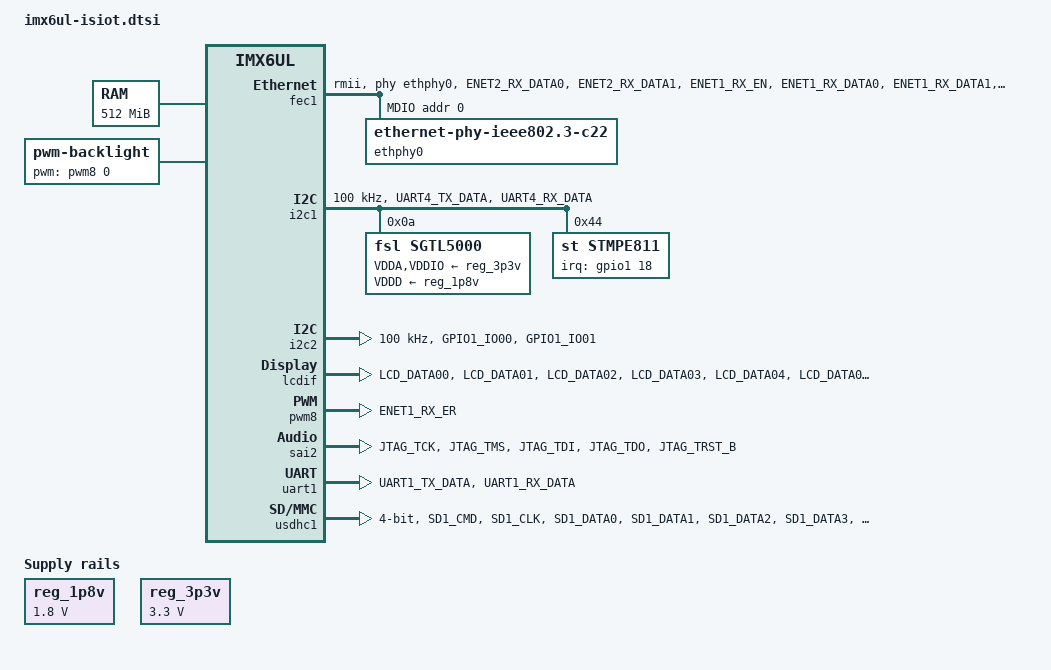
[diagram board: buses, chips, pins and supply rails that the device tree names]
// SPDX-License-Identifier: GPL-2.0 OR X11
/*
 * Copyright (C) 2016 Amarula Solutions B.V.
 * Copyright (C) 2016 Engicam S.r.l.
 */

#include <dt-bindings/gpio/gpio.h>
#include <dt-bindings/input/input.h>
#include "imx6ul.dtsi"

/ {
	memory@80000000 {
		device_type = "memory";
		reg = <0x80000000 0x20000000>;
	};

	chosen {
		stdout-path = &uart1;
	};

	backlight {
		compatible = "pwm-backlight";
		pwms = <&pwm8 0 100000 0>;
		brightness-levels = < 0  1  2  3  4  5  6  7  8  9
				     10 11 12 13 14 15 16 17 18 19
				     20 21 22 23 24 25 26 27 28 29
				     30 31 32 33 34 35 36 37 38 39
				     40 41 42 43 44 45 46 47 48 49
				     50 51 52 53 54 55 56 57 58 59
				     60 61 62 63 64 65 66 67 68 69
				     70 71 72 73 74 75 76 77 78 79
				     80 81 82 83 84 85 86 87 88 89
				     90 91 92 93 94 95 96 97 98 99
				    100>;
		default-brightness-level = <100>;
	};

	reg_1p8v: regulator-1p8v {
		compatible = "regulator-fixed";
		regulator-name = "1P8V";
		regulator-min-microvolt = <1800000>;
		regulator-max-microvolt = <1800000>;
		regulator-always-on;
		regulator-boot-on;
	};

	reg_3p3v: regulator-3p3v {
		compatible = "regulator-fixed";
		regulator-name = "3P3V";
		regulator-min-microvolt = <3300000>;
		regulator-max-microvolt = <3300000>;
		regulator-always-on;
		regulator-boot-on;
	};

	sound {
		compatible = "simple-audio-card";
		simple-audio-card,name = "imx6ul-isiot-sgtl5000";
		simple-audio-card,format = "i2s";
		simple-audio-card,bitclock-master = <&dailink_master>;
		simple-audio-card,frame-master = <&dailink_master>;
		simple-audio-card,widgets =
			"Microphone", "Mic Jack",
			"Line", "Line In",
			"Line", "Line Out",
			"Headphone", "Headphone Jack";
		simple-audio-card,routing =
			"MIC_IN", "Mic Jack",
			"Mic Jack", "Mic Bias",
			"Headphone Jack", "HP_OUT";

		simple-audio-card,cpu {
			sound-dai = <&sai2>;
		};

		dailink_master: simple-audio-card,codec {
			sound-dai = <&sgtl5000>;
			clocks = <&clks IMX6UL_CLK_SAI2>;
		};
	};
};

&fec1 {
	pinctrl-names = "default";
	pinctrl-0 = <&pinctrl_enet1>;
	phy-mode = "rmii";
	phy-handle = <&ethphy0>;
	status = "okay";

	mdio {
		#address-cells = <1>;
		#size-cells = <0>;

		ethphy0: ethernet-phy@0 {
			compatible = "ethernet-phy-ieee802.3-c22";
			reg = <0>;
		};
	};
};

&gpmi {
	pinctrl-names = "default";
	pinctrl-0 = <&pinctrl_gpmi_nand>;
	nand-on-flash-bbt;
	status = "disabled";
};

&i2c1 {
	clock-frequency = <100000>;
	pinctrl-names = "default";
	pinctrl-0 = <&pinctrl_i2c1>;
	status = "okay";

	sgtl5000: codec@a {
		compatible = "fsl,sgtl5000";
		reg = <0x0a>;
		#sound-dai-cells = <0>;
		clocks = <&clks IMX6UL_CLK_OSC>;
		clock-names = "mclk";
		VDDA-supply = <&reg_3p3v>;
		VDDIO-supply = <&reg_3p3v>;
		VDDD-supply = <&reg_1p8v>;
	};

	stmpe811: gpio-expander@44 {
		compatible = "st,stmpe811";
		reg = <0x44>;
		pinctrl-names = "default";
		pinctrl-0 = <&pinctrl_stmpe>;
		interrupt-parent = <&gpio1>;
		interrupts = <18 IRQ_TYPE_EDGE_FALLING>;
		interrupt-controller;
		#interrupt-cells = <2>;

		stmpe: touchscreen {
			compatible = "st,stmpe-ts";
			st,sample-time = <4>;
			st,mod-12b = <1>;
			st,ref-sel = <0>;
			st,adc-freq = <1>;
			st,ave-ctrl = <1>;
			st,touch-det-delay = <2>;
			st,settling = <2>;
			st,fraction-z = <7>;
			st,i-drive = <1>;
		};
	};
};

&i2c2 {
	clock-frequency = <100000>;
	pinctrl-names = "default";
	pinctrl-0 = <&pinctrl_i2c2>;
	status = "okay";
};

&lcdif {
	pinctrl-names = "default";
	pinctrl-0 = <&pinctrl_lcdif_dat
		     &pinctrl_lcdif_ctrl>;
	display = <&display0>;
	status = "okay";

	display0: display0 {
		bits-per-pixel = <16>;
		bus-width = <18>;

		display-timings {
			native-mode = <&timing0>;
			timing0: timing0 {
				clock-frequency = <28000000>;
				hactive = <800>;
				vactive = <480>;
				hfront-porch = <30>;
				hback-porch = <30>;
				hsync-len = <64>;
				vback-porch = <5>;
				vfront-porch = <5>;
				vsync-len = <20>;
				hsync-active = <0>;
				vsync-active = <0>;
				de-active = <1>;
				pixelclk-active = <0>;
			};
		};
	};
};

&pwm8 {
	pinctrl-names = "default";
	pinctrl-0 = <&pinctrl_pwm8>;
	status = "okay";
};

&sai2 {
	pinctrl-names = "default";
	pinctrl-0 = <&pinctrl_sai2>;
	status = "okay";
};

&uart1 {
	pinctrl-names = "default";
	pinctrl-0 = <&pinctrl_uart1>;
	status = "okay";
};

&usdhc1 {
	pinctrl-names = "default", "state_100mhz", "state_200mhz";
	pinctrl-0 = <&pinctrl_usdhc1>;
	pinctrl-1 = <&pinctrl_usdhc1_100mhz>;
	pinctrl-2 = <&pinctrl_usdhc1_200mhz>;
	cd-gpios = <&gpio1 19 GPIO_ACTIVE_LOW>;
	bus-width = <4>;
	no-1-8-v;
	status = "okay";
};

&usdhc2 {
	pinctrl-names = "default";
	pinctrl-0 = <&pinctrl_usdhc2>;
	cd-gpios = <&gpio4 5 GPIO_ACTIVE_LOW>;
	bus-width = <8>;
	no-1-8-v;
	status = "disabled";
};

&iomuxc {
	pinctrl_enet1: enet1grp {
		fsl,pins = <
			MX6UL_PAD_ENET2_RX_DATA0__ENET1_MDIO	0x1b0b0
			MX6UL_PAD_ENET2_RX_DATA1__ENET1_MDC	0x1b0b0
			MX6UL_PAD_ENET1_RX_EN__ENET1_RX_EN	0x1b0b0
			MX6UL_PAD_ENET1_RX_DATA0__ENET1_RDATA00	0x1b0b0
			MX6UL_PAD_ENET1_RX_DATA1__ENET1_RDATA01	0x1b0b0
			MX6UL_PAD_ENET1_TX_EN__ENET1_TX_EN	0x1b0b0
			MX6UL_PAD_ENET1_TX_DATA0__ENET1_TDATA00	0x1b0b0
			MX6UL_PAD_ENET1_TX_DATA1__ENET1_TDATA01	0x1b0b0
			MX6UL_PAD_ENET1_TX_CLK__ENET1_REF_CLK1	0x4001b031
			MX6UL_PAD_ENET2_RX_EN__GPIO2_IO10	0x1b0b0
		>;
	};

	pinctrl_gpmi_nand: gpminandgrp {
		fsl,pins = <
			MX6UL_PAD_NAND_CLE__RAWNAND_CLE         0xb0b1
			MX6UL_PAD_NAND_ALE__RAWNAND_ALE         0xb0b1
			MX6UL_PAD_NAND_WP_B__RAWNAND_WP_B       0xb0b1
			MX6UL_PAD_NAND_READY_B__RAWNAND_READY_B 0xb000
			MX6UL_PAD_NAND_CE0_B__RAWNAND_CE0_B     0xb0b1
			MX6UL_PAD_NAND_RE_B__RAWNAND_RE_B       0xb0b1
			MX6UL_PAD_NAND_WE_B__RAWNAND_WE_B       0xb0b1
			MX6UL_PAD_NAND_DATA00__RAWNAND_DATA00   0xb0b1
			MX6UL_PAD_NAND_DATA01__RAWNAND_DATA01   0xb0b1
			MX6UL_PAD_NAND_DATA02__RAWNAND_DATA02   0xb0b1
			MX6UL_PAD_NAND_DATA03__RAWNAND_DATA03   0xb0b1
			MX6UL_PAD_NAND_DATA04__RAWNAND_DATA04   0xb0b1
			MX6UL_PAD_NAND_DATA05__RAWNAND_DATA05   0xb0b1
			MX6UL_PAD_NAND_DATA06__RAWNAND_DATA06   0xb0b1
			MX6UL_PAD_NAND_DATA07__RAWNAND_DATA07   0xb0b1
		>;
	};

	pinctrl_i2c1: i2c1grp {
		fsl,pins = <
			MX6UL_PAD_UART4_TX_DATA__I2C1_SCL 0x4001b8b0
			MX6UL_PAD_UART4_RX_DATA__I2C1_SDA 0x4001b8b0
		>;
	};

	pinctrl_i2c2: i2c2grp {
		fsl,pins = <
			MX6UL_PAD_GPIO1_IO00__I2C2_SCL 0x4001b8b0
			MX6UL_PAD_GPIO1_IO01__I2C2_SDA 0x4001b8b0
		>;
	};

	pinctrl_lcdif_ctrl: lcdifctrlgrp {
		fsl,pins = <
			MX6UL_PAD_LCD_CLK__LCDIF_CLK	    0x79
			MX6UL_PAD_LCD_ENABLE__LCDIF_ENABLE  0x79
			MX6UL_PAD_LCD_HSYNC__LCDIF_HSYNC    0x79
			MX6UL_PAD_LCD_VSYNC__LCDIF_VSYNC    0x79
		>;
	};

	pinctrl_lcdif_dat: lcdifdatgrp {
		fsl,pins = <
			MX6UL_PAD_LCD_DATA00__LCDIF_DATA00  0x79
			MX6UL_PAD_LCD_DATA01__LCDIF_DATA01  0x79
			MX6UL_PAD_LCD_DATA02__LCDIF_DATA02  0x79
			MX6UL_PAD_LCD_DATA03__LCDIF_DATA03  0x79
			MX6UL_PAD_LCD_DATA04__LCDIF_DATA04  0x79
			MX6UL_PAD_LCD_DATA05__LCDIF_DATA05  0x79
			MX6UL_PAD_LCD_DATA06__LCDIF_DATA06  0x79
			MX6UL_PAD_LCD_DATA07__LCDIF_DATA07  0x79
			MX6UL_PAD_LCD_DATA08__LCDIF_DATA08  0x79
			MX6UL_PAD_LCD_DATA09__LCDIF_DATA09  0x79
			MX6UL_PAD_LCD_DATA10__LCDIF_DATA10  0x79
			MX6UL_PAD_LCD_DATA11__LCDIF_DATA11  0x79
			MX6UL_PAD_LCD_DATA12__LCDIF_DATA12  0x79
			MX6UL_PAD_LCD_DATA13__LCDIF_DATA13  0x79
			MX6UL_PAD_LCD_DATA14__LCDIF_DATA14  0x79
			MX6UL_PAD_LCD_DATA15__LCDIF_DATA15  0x79
			MX6UL_PAD_LCD_DATA16__LCDIF_DATA16  0x79
			MX6UL_PAD_LCD_DATA17__LCDIF_DATA17  0x79
		>;
	};

	pinctrl_pwm8: pwm8grp {
		fsl,pins = <
			MX6UL_PAD_ENET1_RX_ER__PWM8_OUT   0x110b0
		>;
	};

	pinctrl_sai2: sai2grp {
		fsl,pins = <
			MX6UL_PAD_JTAG_TCK__SAI2_RX_DATA	0x130b0
			MX6UL_PAD_JTAG_TMS__CCM_CLKO1		0x4001b031
			MX6UL_PAD_JTAG_TDI__SAI2_TX_BCLK	0x17088
			MX6UL_PAD_JTAG_TDO__SAI2_TX_SYNC	0x17088
			MX6UL_PAD_JTAG_TRST_B__SAI2_TX_DATA	0x120b0
		>;
	};

	pinctrl_stmpe: stmpegrp {
		fsl,pins = <
			MX6UL_PAD_UART1_CTS_B__GPIO1_IO18 0x1b0b0
		>;
	};

	pinctrl_uart1: uart1grp {
		fsl,pins = <
			MX6UL_PAD_UART1_TX_DATA__UART1_DCE_TX 0x1b0b1
			MX6UL_PAD_UART1_RX_DATA__UART1_DCE_RX 0x1b0b1
		>;
	};

	pinctrl_usdhc1: usdhc1grp {
		fsl,pins = <
			MX6UL_PAD_SD1_CMD__USDHC1_CMD     0x17059
			MX6UL_PAD_SD1_CLK__USDHC1_CLK     0x10059
			MX6UL_PAD_SD1_DATA0__USDHC1_DATA0 0x17059
			MX6UL_PAD_SD1_DATA1__USDHC1_DATA1 0x17059
			MX6UL_PAD_SD1_DATA2__USDHC1_DATA2 0x17059
			MX6UL_PAD_SD1_DATA3__USDHC1_DATA3 0x17059
		>;
	};

	pinctrl_usdhc1_100mhz: usdhc1-100mhz-grp {
		fsl,pins = <
			MX6UL_PAD_SD1_CMD__USDHC1_CMD     0x170b9
			MX6UL_PAD_SD1_CLK__USDHC1_CLK     0x100b9
			MX6UL_PAD_SD1_DATA0__USDHC1_DATA0 0x170b9
			MX6UL_PAD_SD1_DATA1__USDHC1_DATA1 0x170b9
			MX6UL_PAD_SD1_DATA2__USDHC1_DATA2 0x170b9
			MX6UL_PAD_SD1_DATA3__USDHC1_DATA3 0x170b9
		>;
	};

	pinctrl_usdhc1_200mhz: usdhc1-200mhz-grp {
		fsl,pins = <
			MX6UL_PAD_SD1_CMD__USDHC1_CMD     0x170f9
			MX6UL_PAD_SD1_CLK__USDHC1_CLK     0x100f9
			MX6UL_PAD_SD1_DATA0__USDHC1_DATA0 0x170f9
			MX6UL_PAD_SD1_DATA1__USDHC1_DATA1 0x170f9
			MX6UL_PAD_SD1_DATA2__USDHC1_DATA2 0x170f9
			MX6UL_PAD_SD1_DATA3__USDHC1_DATA3 0x170f9
		>;
	};

	pinctrl_usdhc2: usdhc2grp {
		fsl,pins = <
			MX6UL_PAD_NAND_RE_B__USDHC2_CLK      0x17070
			MX6UL_PAD_NAND_WE_B__USDHC2_CMD      0x10070
			MX6UL_PAD_NAND_DATA00__USDHC2_DATA0  0x17070
			MX6UL_PAD_NAND_DATA01__USDHC2_DATA1  0x17070
			MX6UL_PAD_NAND_DATA02__USDHC2_DATA2  0x17070
			MX6UL_PAD_NAND_DATA03__USDHC2_DATA3  0x17070
			MX6UL_PAD_NAND_DATA04__USDHC2_DATA4  0x17070
			MX6UL_PAD_NAND_DATA05__USDHC2_DATA5  0x17070
			MX6UL_PAD_NAND_DATA06__USDHC2_DATA6  0x17070
			MX6UL_PAD_NAND_DATA07__USDHC2_DATA7  0x17070
			MX6UL_PAD_NAND_ALE__USDHC2_RESET_B   0x17070
		>;
	};
};
